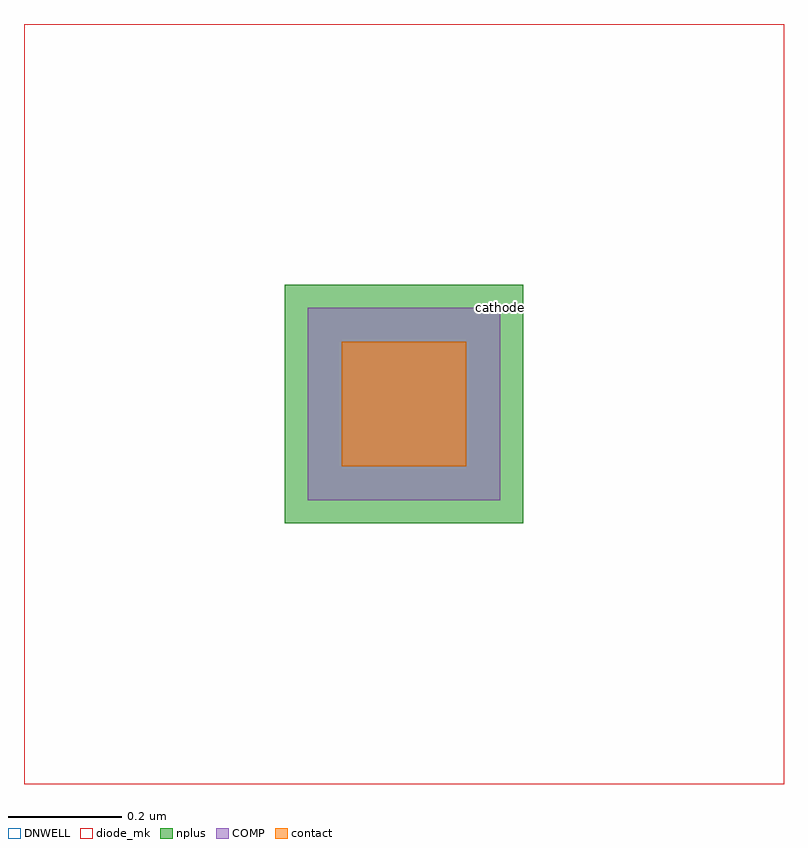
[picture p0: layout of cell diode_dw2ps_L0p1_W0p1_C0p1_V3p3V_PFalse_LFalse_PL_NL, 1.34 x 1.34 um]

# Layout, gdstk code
import gdstk
lib = gdstk.Library(unit=1e-6, precision=1e-09)
def R(c, l, rs):  # rectangles x0, y0, x1, y1
    for r in rs: c.add(gdstk.rectangle(r[:2], r[2:], *l))
DNWELL = (12, 0)
COMP = (22, 0)
nplus = (32, 0)
contact = (33, 0)
diode_mk = (115, 5)

rectangle_gdsfactorypcom = lib.new_cell('rectangle_gdsfactorypcomponentspshapesprectangle_S0p1_0_050bad12')
R(rectangle_gdsfactorypcom, COMP, [(0,0,0.1,0.1)])

c_rectangle_gdsfactorypcom = lib.new_cell('rectangle_gdsfactorypcomponentspshapesprectangle_S0p22__bfea7709')
R(c_rectangle_gdsfactorypcom, contact, [(0,0,0.22,0.22)])

via_generator_xr0_0p1_yr = lib.new_cell('via_generator_XR0_0p1_YR0_0p1_VS0p22_0p22_VLcontact_VE0_f40a647a')
via_generator_xr0_0p1_yr.add(gdstk.Reference(c_rectangle_gdsfactorypcom, (-0.06,-0.06)))

c_rectangle_gdsfactorypcom_ = lib.new_cell('rectangle_gdsfactorypcomponentspshapesprectangle_S0p339_7cf635e5')
R(c_rectangle_gdsfactorypcom_, COMP, [(0,0,0.34,0.34)])

via_stack_xr0_0p1_yr0_0p = lib.new_cell('via_stack_XR0_0p1_YR0_0p1_ML1_CS0p22_0p22_CE0p07_ME0p06_19d2f936')
via_stack_xr0_0p1_yr0_0p.add(gdstk.Reference(via_generator_xr0_0p1_yr, (0,0)))
via_stack_xr0_0p1_yr0_0p.add(gdstk.Reference(c_rectangle_gdsfactorypcom_, (-0.12,-0.12)))

c_rectangle_gdsfactorypcom__ = lib.new_cell('rectangle_gdsfactorypcomponentspshapesprectangle_S0p420_fab70718')
R(c_rectangle_gdsfactorypcom__, nplus, [(0,0,0.42,0.42)])

c_rectangle_gdsfactorypcom___ = lib.new_cell('rectangle_gdsfactorypcomponentspshapesprectangle_S1p34__273c1fe6')
R(c_rectangle_gdsfactorypcom___, DNWELL, [(0,0,1.34,1.34)])

c_rectangle_gdsfactorypcom____ = lib.new_cell('rectangle_gdsfactorypcomponentspshapesprectangle_S1p339_8b5c80f7')
R(c_rectangle_gdsfactorypcom____, diode_mk, [(0,0,1.34,1.34)])

diode_dw2ps_l0p1_w0p1_c0 = lib.new_cell('diode_dw2ps_L0p1_W0p1_C0p1_V3p3V_PFalse_LFalse_PL_NL')
diode_dw2ps_l0p1_w0p1_c0.add(gdstk.Reference(rectangle_gdsfactorypcom, (0,0)))
diode_dw2ps_l0p1_w0p1_c0.add(gdstk.Reference(via_stack_xr0_0p1_yr0_0p, (0,0)))
diode_dw2ps_l0p1_w0p1_c0.add(gdstk.Reference(c_rectangle_gdsfactorypcom__, (-0.16,-0.16)))
diode_dw2ps_l0p1_w0p1_c0.add(gdstk.Reference(c_rectangle_gdsfactorypcom___, (-0.62,-0.62)))
diode_dw2ps_l0p1_w0p1_c0.add(gdstk.Reference(c_rectangle_gdsfactorypcom____, (-0.62,-0.62)))
diode_dw2ps_l0p1_w0p1_c0.add(gdstk.Label('cathode', (0.22,0.22), layer=34, texttype=10))

lib.write_gds('diode_dw2ps_L0p1_W0p1_C0p1_V3p3V_PFalse_LFalse_PL_NL.gds')
